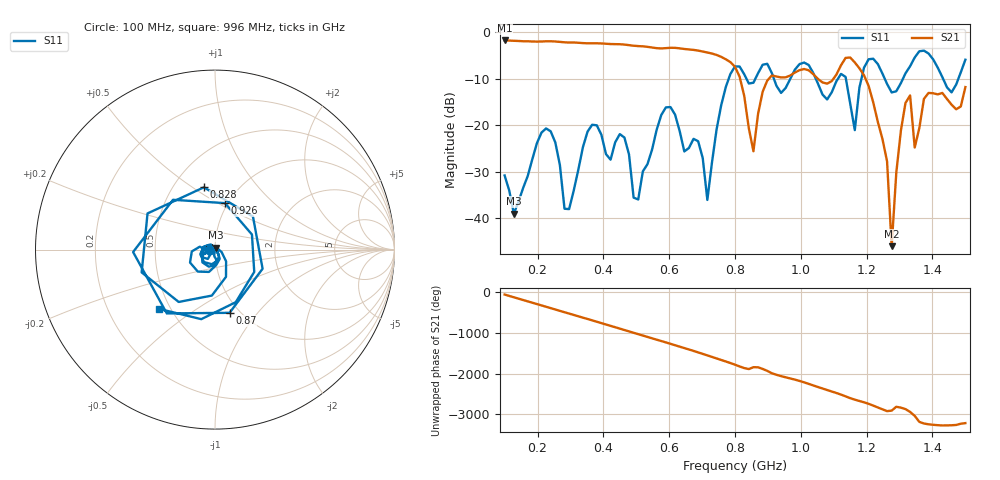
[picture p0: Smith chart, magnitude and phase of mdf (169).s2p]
! NanoVNA-App
! Date: 2025-09-25 15:39:44
! Start: 100MHz Stop: 1,5GHz Points: 101
! S-Parameter data: F S11 S21 S12 S22
# Hz S RI R 50
!  Frequency  S11_Real  S11_Imag  S21_Real  S21_Imag  S12_Real  S12_Imag  S22_Real  S22_Imag
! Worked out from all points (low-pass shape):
!   101 points, 100 MHz to 1.5 GHz, reference 50 ohm
!   highest |S21| = -1.80 dB at 100 MHz (marker M1); lowest = -46.0 dB at 1.276 GHz (marker M2)
!   |S21| within 3 dB of the highest: start of sweep to 739 MHz
!   lowest |S11| = -38.9 dB at 128 MHz (marker M3), VSWR 1.02, Z = 50.3 + j1.08 ohm
!   |S11| at or under -10 dB: start of sweep to 781 MHz; 918.1 MHz to 968.2 MHz (50.12 MHz wide, 5.31 % of centre); 1.045 GHz to 1.113 GHz (67.64 MHz wide, 6.27 % of centre) (the widest 3 of 7)
!   S12 and S22 are empty: the file has one direction only
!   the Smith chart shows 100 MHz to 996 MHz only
!   S11 on the Smith chart (normalised r, x): 100 MHz: 0.94, -0.01; 828 MHz: 0.70, +0.56; 870 MHz: 0.90, -0.73; 926 MHz: 0.97, +0.54; 996 MHz: 0.44, -0.36
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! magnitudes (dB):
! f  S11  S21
! 100 MHz  -30.8  -1.8
! 128 MHz  -38.9  -1.9
! 212 MHz  -21.6  -2.0
! 282 MHz  -37.9  -2.2
! 338 MHz  -24.7  -2.4
! 464 MHz  -22.6  -2.7
! 506 MHz  -35.9  -3.0
! 576 MHz  -17.8  -3.5
! 716 MHz  -36.0  -4.4
! 800 MHz  -7.4  -7.5
! 828 MHz  -9.1  -13.7
! 870 MHz  -8.8  -17.6
! 926 MHz  -11.5  -9.5
! 996 MHz  -6.9  -8.2
! 1.038 GHz  -8.8  -9.1
! 1.164 GHz  -21.0  -6.5
! 1.192 GHz  -7.6  -9.3
! 1.262 GHz  -11.1  -27.7
! 1.276 GHz  -13.0  -46.0
! 1.318 GHz  -8.9  -15.2
! 1.346 GHz  -5.5  -24.8
! 1.5 GHz  -5.9  -11.8
